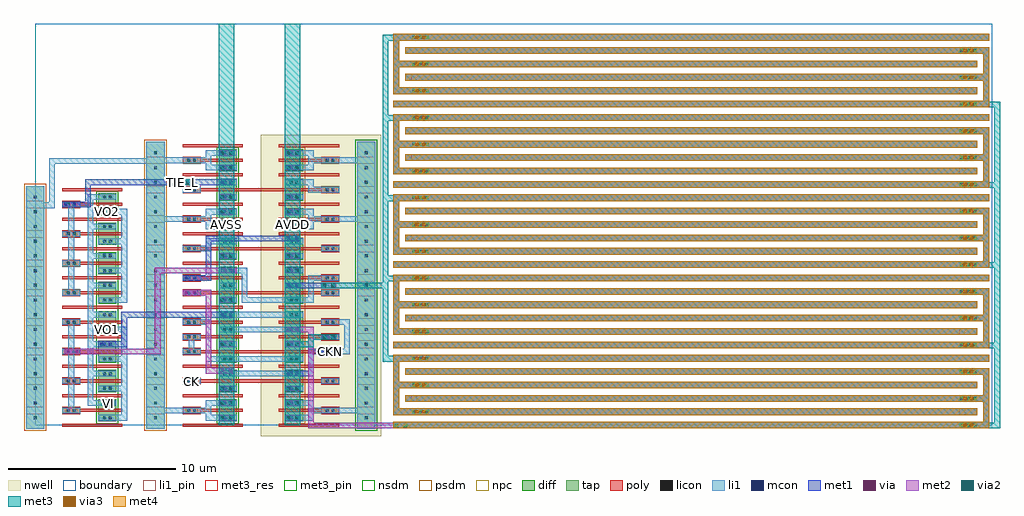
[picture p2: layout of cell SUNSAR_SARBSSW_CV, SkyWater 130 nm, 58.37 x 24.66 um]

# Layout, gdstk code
import gdstk
lib = gdstk.Library(unit=1e-6, precision=1e-09)
def R(c, l, rs):  # rectangles x0, y0, x1, y1
    for r in rs: c.add(gdstk.rectangle(r[:2], r[2:], *l))
def A(c, l, x, y, w, h, nx, ny, dx, dy):  # array of equal rectangles
    R(c, l, [(x+i*dx, y+j*dy, x+i*dx+w, y+j*dy+h) for i in range(nx) for j in range(ny)])
nwell = (64, 20)
diff = (65, 20)
tap = (65, 44)
poly = (66, 20)
licon = (66, 44)
li1_pin = (67, 16)
li1 = (67, 20)
mcon = (67, 44)
met1 = (68, 20)
via = (68, 44)
met2 = (69, 20)
via2 = (69, 44)
met3_res = (70, 13)
met3_pin = (70, 16)
met3 = (70, 20)
via3 = (70, 44)
met4 = (71, 20)
nsdm = (93, 44)
psdm = (94, 20)
npc = (95, 20)
boundary = (235, 4)

sunsar_cut_m2m4_2x1 = lib.new_cell('SUNSAR_cut_M2M4_2x1')
R(sunsar_cut_m2m4_2x1, met1, [(0,0,0.92,0.34)])
R(sunsar_cut_m2m4_2x1, via, [(0.125,0.095,0.275,0.245), (0.645,0.095,0.795,0.245)])
R(sunsar_cut_m2m4_2x1, met2, [(0,0,0.92,0.34)])
R(sunsar_cut_m2m4_2x1, via2, [(0.1,0.07,0.3,0.27), (0.62,0.07,0.82,0.27)])
R(sunsar_cut_m2m4_2x1, met3, [(0,0,0.92,0.34)])
R(sunsar_cut_m2m4_2x1, boundary, [(0,0,0.92,0.34)])

sunsar_cut_m1m4_2x1 = lib.new_cell('SUNSAR_cut_M1M4_2x1')
R(sunsar_cut_m1m4_2x1, li1, [(0,0,0.92,0.34)])
R(sunsar_cut_m1m4_2x1, mcon, [(0.115,0.085,0.285,0.255), (0.635,0.085,0.805,0.255)])
R(sunsar_cut_m1m4_2x1, met1, [(0,0,0.92,0.34)])
R(sunsar_cut_m1m4_2x1, via, [(0.125,0.095,0.275,0.245), (0.645,0.095,0.795,0.245)])
R(sunsar_cut_m1m4_2x1, met2, [(0,0,0.92,0.34)])
R(sunsar_cut_m1m4_2x1, via2, [(0.1,0.07,0.3,0.27), (0.62,0.07,0.82,0.27)])
R(sunsar_cut_m1m4_2x1, met3, [(0,0,0.92,0.34)])
R(sunsar_cut_m1m4_2x1, boundary, [(0,0,0.92,0.34)])

sunsar_cut_m3m4_2x1 = lib.new_cell('SUNSAR_cut_M3M4_2x1')
R(sunsar_cut_m3m4_2x1, met2, [(0,0,0.92,0.34)])
R(sunsar_cut_m3m4_2x1, via2, [(0.1,0.07,0.3,0.27), (0.62,0.07,0.82,0.27)])
R(sunsar_cut_m3m4_2x1, met3, [(0,0,0.92,0.34)])
R(sunsar_cut_m3m4_2x1, boundary, [(0,0,0.92,0.34)])

sunsar_cut_m1m3_2x1 = lib.new_cell('SUNSAR_cut_M1M3_2x1')
R(sunsar_cut_m1m3_2x1, li1, [(0,0,0.92,0.34)])
R(sunsar_cut_m1m3_2x1, mcon, [(0.115,0.085,0.285,0.255), (0.635,0.085,0.805,0.255)])
R(sunsar_cut_m1m3_2x1, met1, [(0,0,0.92,0.34)])
R(sunsar_cut_m1m3_2x1, via, [(0.125,0.095,0.275,0.245), (0.645,0.095,0.795,0.245)])
R(sunsar_cut_m1m3_2x1, met2, [(0,0,0.92,0.34)])
R(sunsar_cut_m1m3_2x1, boundary, [(0,0,0.92,0.34)])

sunsar_cut_m1m2_2x1 = lib.new_cell('SUNSAR_cut_M1M2_2x1')
R(sunsar_cut_m1m2_2x1, li1, [(0,0,0.92,0.34)])
R(sunsar_cut_m1m2_2x1, mcon, [(0.115,0.085,0.285,0.255), (0.635,0.085,0.805,0.255)])
R(sunsar_cut_m1m2_2x1, met1, [(0,0,0.92,0.34)])
R(sunsar_cut_m1m2_2x1, boundary, [(0,0,0.92,0.34)])

sunsar_cap_bssw_cv = lib.new_cell('SUNSAR_CAP_BSSW_CV')
R(sunsar_cap_bssw_cv, li1, [(0.54,-0.2,36.18,0.2), (35.82,0.2,36.18,1.4), (0.54,0.6,35.46,1), (0.54,1,0.9,2.2), (1.26,1.4,36.18,1.8), (35.82,1.8,36.18,3), (0.54,2.2,35.46,2.6), (0.54,2.6,0.9,3.8), (1.26,3,36.18,3.4), (0.54,3.8,36.18,4.2)])
A(sunsar_cap_bssw_cv, mcon, 34.475, -0.085, 0.17, 0.17, 3, 3, 0.36, 1.6)
A(sunsar_cap_bssw_cv, mcon, 1.715, 0.715, 0.17, 0.17, 3, 3, 0.36, 1.6)
R(sunsar_cap_bssw_cv, met1, [(0.54,-0.2,36.18,0.2), (35.82,0.2,36.18,1.4), (0.54,0.6,35.46,1), (0.54,1,0.9,2.2), (1.26,1.4,36.18,1.8), (35.82,1.8,36.18,3), (0.54,2.2,35.46,2.6), (0.54,2.6,0.9,3.8), (1.26,3,36.18,3.4), (0.54,3.8,36.18,4.2)])
A(sunsar_cap_bssw_cv, via, 34.525, -0.075, 0.15, 0.15, 3, 3, 0.32, 1.6)
A(sunsar_cap_bssw_cv, via, 1.765, 0.725, 0.15, 0.15, 3, 3, 0.32, 1.6)
R(sunsar_cap_bssw_cv, met2, [(0.54,-0.2,36.18,0.2), (35.82,0.2,36.18,1.4), (0.54,0.6,35.46,1), (0.54,1,0.9,2.2), (1.26,1.4,36.18,1.8), (35.82,1.8,36.18,3), (0.54,2.2,35.46,2.6), (0.54,2.6,0.9,3.8), (1.26,3,36.18,3.4), (0.54,3.8,36.18,4.2)])
A(sunsar_cap_bssw_cv, via2, 34.42, -0.1, 0.2, 0.2, 3, 3, 0.4, 1.6)
A(sunsar_cap_bssw_cv, via2, 1.66, 0.7, 0.2, 0.2, 3, 3, 0.4, 1.6)
R(sunsar_cap_bssw_cv, met3_res, [(34.38,0.6,34.74,1), (1.62,1.4,1.98,1.8)])
R(sunsar_cap_bssw_cv, met3_pin, [(0.54,-0.2,36.18,0.2), (0.54,3.8,36.18,4.2)])
R(sunsar_cap_bssw_cv, met3, [(0.54,-0.2,36.18,0.2), (35.82,0.2,36.18,1.4), (0.54,0.6,35.46,1), (0.54,1,0.9,2.2), (1.26,1.4,36.18,1.8), (35.82,1.8,36.18,3), (0.54,2.2,35.46,2.6), (0.54,2.6,0.9,3.8), (1.26,3,36.18,3.4), (0.54,3.8,36.18,4.2)])
A(sunsar_cap_bssw_cv, via3, 34.62, -0.1, 0.2, 0.2, 1, 3, 0, 1.6)
A(sunsar_cap_bssw_cv, via3, 35.02, -0.1, 0.2, 0.2, 1, 3, 0, 1.6)
A(sunsar_cap_bssw_cv, via3, 1.86, 0.7, 0.2, 0.2, 1, 3, 0, 1.6)
A(sunsar_cap_bssw_cv, via3, 2.26, 0.7, 0.2, 0.2, 1, 3, 0, 1.6)
R(sunsar_cap_bssw_cv, met4, [(0.54,-0.2,36.18,0.2), (35.82,0.2,36.18,1.4), (0.54,0.6,35.46,1), (0.54,1,0.9,2.2), (1.26,1.4,36.18,1.8), (35.82,1.8,36.18,3), (0.54,2.2,35.46,2.6), (0.54,2.6,0.9,3.8), (1.26,3,36.18,3.4), (0.54,3.8,36.18,4.2)])
R(sunsar_cap_bssw_cv, boundary, [(0,0,36.36,4.8)])
sunsar_cap_bssw_cv.add(gdstk.Label('A', (18.36,4), layer=70, texttype=5))
sunsar_cap_bssw_cv.add(gdstk.Label('B', (18.36,0), layer=70, texttype=5))

sunsar_cap_bssw5_cv = lib.new_cell('SUNSAR_CAP_BSSW5_CV')
R(sunsar_cap_bssw5_cv, met3_pin, [(0.54,-0.2,36.18,0.2), (0.54,13.4,36.18,13.8)])
A(sunsar_cap_bssw5_cv, met3, 36.48, 0.14, 0.34, 4.46, 1, 4, 0, 4.8)
A(sunsar_cap_bssw5_cv, met3, -0.1, 4.14, 0.34, 4.46, 1, 4, 0, 4.8)
A(sunsar_cap_bssw5_cv, met3, 18.36, 4.6, 18.46, 0.34, 1, 4, 0, 4.8)
R(sunsar_cap_bssw5_cv, met3, [(0.54,-0.2,36.82,0.14), (0.54,0.14,36.18,0.2), (-0.1,3.8,18.36,4.14), (-0.1,8.6,18.36,8.94), (-0.1,13.4,36.18,13.74), (0.54,13.74,36.18,13.8), (-0.1,18.2,18.36,18.54), (-0.1,23,18.36,23.34)])
R(sunsar_cap_bssw5_cv, boundary, [(0,0,36.36,24)])
sunsar_cap_bssw5_cv.add(gdstk.Reference(sunsar_cap_bssw_cv, (0,19.2)))
sunsar_cap_bssw5_cv.add(gdstk.Reference(sunsar_cap_bssw_cv, (0,14.4)))
sunsar_cap_bssw5_cv.add(gdstk.Reference(sunsar_cap_bssw_cv, (0,9.6)))
sunsar_cap_bssw5_cv.add(gdstk.Reference(sunsar_cap_bssw_cv, (0,4.8)))
sunsar_cap_bssw5_cv.add(gdstk.Reference(sunsar_cap_bssw_cv, (0,0)))
sunsar_cap_bssw5_cv.add(gdstk.Label('A', (18.36,13.6), layer=70, texttype=5))
sunsar_cap_bssw5_cv.add(gdstk.Label('B', (18.36,0), layer=70, texttype=5))

sunsar_pchdl = lib.new_cell('SUNSAR_PCHDL')
R(sunsar_pchdl, nwell, [(0,-0.66,7.2,2.42)])
R(sunsar_pchdl, diff, [(1.44,0.22,2.52,1.54)])
R(sunsar_pchdl, tap, [(5.76,-0.22,6.84,1.98)])
A(sunsar_pchdl, poly, 1.08, -0.09, 3.6, 0.18, 1, 3, 0, 0.88)
R(sunsar_pchdl, poly, [(3.6,0.66,4.68,0.79), (3.6,0.97,4.68,1.1)])
R(sunsar_pchdl, licon, [(1.725,0.355,1.895,0.525), (2.065,0.355,2.235,0.525), (6.215,0.355,6.385,0.525), (3.885,0.795,4.055,0.965), (4.225,0.795,4.395,0.965), (1.725,1.235,1.895,1.405), (2.065,1.235,2.235,1.405), (6.215,1.235,6.385,1.405)])
R(sunsar_pchdl, li1_pin, [(1.44,0.27,2.52,0.61), (5.76,0.66,6.84,1.1), (3.6,0.71,4.68,1.05), (1.44,1.15,2.52,1.49)])
R(sunsar_pchdl, li1, [(5.76,-0.22,6.84,1.98), (1.44,0.27,2.52,0.61), (3.6,0.71,4.68,1.05), (1.44,1.15,2.52,1.49)])
R(sunsar_pchdl, nsdm, [(5.635,-0.345,6.965,2.105)])
R(sunsar_pchdl, psdm, [(1.315,0.095,2.645,1.665)])
R(sunsar_pchdl, npc, [(3.785,0.695,4.495,1.065)])
R(sunsar_pchdl, boundary, [(0,0,6.3,1.76)])
sunsar_pchdl.add(gdstk.Label('D', (1.98,1.32), layer=67, texttype=5))
sunsar_pchdl.add(gdstk.Label('G', (4.14,0.88), layer=67, texttype=5))
sunsar_pchdl.add(gdstk.Label('S', (1.98,0.44), layer=67, texttype=5))
sunsar_pchdl.add(gdstk.Label('B', (6.3,0.88), layer=67, texttype=5))

sunsar_nchdl = lib.new_cell('SUNSAR_NCHDL')
R(sunsar_nchdl, diff, [(3.78,0.22,4.86,1.54)])
R(sunsar_nchdl, tap, [(-0.54,-0.22,0.54,1.98)])
A(sunsar_nchdl, poly, 1.62, -0.09, 3.6, 0.18, 1, 3, 0, 0.88)
R(sunsar_nchdl, poly, [(1.62,0.66,2.7,0.79), (1.62,0.97,2.7,1.1)])
R(sunsar_nchdl, licon, [(-0.085,0.355,0.085,0.525), (4.065,0.355,4.235,0.525), (4.405,0.355,4.575,0.525), (1.905,0.795,2.075,0.965), (2.245,0.795,2.415,0.965), (-0.085,1.235,0.085,1.405), (4.065,1.235,4.235,1.405), (4.405,1.235,4.575,1.405)])
R(sunsar_nchdl, li1_pin, [(3.78,0.27,4.86,0.61), (-0.54,0.66,0.54,1.1), (1.62,0.71,2.7,1.05), (3.78,1.15,4.86,1.49)])
R(sunsar_nchdl, li1, [(-0.54,-0.22,0.54,1.98), (3.78,0.27,4.86,0.61), (1.62,0.71,2.7,1.05), (3.78,1.15,4.86,1.49)])
R(sunsar_nchdl, nsdm, [(3.655,0.095,4.985,1.665)])
R(sunsar_nchdl, psdm, [(-0.665,-0.345,0.665,2.105)])
R(sunsar_nchdl, npc, [(1.805,0.695,2.515,1.065)])
R(sunsar_nchdl, boundary, [(0,0,6.3,1.76)])
sunsar_nchdl.add(gdstk.Label('D', (4.32,1.32), layer=67, texttype=5))
sunsar_nchdl.add(gdstk.Label('G', (2.16,0.88), layer=67, texttype=5))
sunsar_nchdl.add(gdstk.Label('S', (4.32,0.44), layer=67, texttype=5))
sunsar_nchdl.add(gdstk.Label('B', (0,0.88), layer=67, texttype=5))

sunsar_tapcellb_cv = lib.new_cell('SUNSAR_TAPCELLB_CV')
R(sunsar_tapcellb_cv, li1, [(3,0.27,4.32,0.61), (8.28,0.27,9.46,0.61), (3,0.61,3.34,0.71), (9.12,0.61,9.46,0.71), (-0.54,0.71,3.34,1.05), (9.12,0.71,13.14,1.05), (3,1.05,3.34,1.15), (9.12,1.05,9.46,1.15), (3,1.15,4.32,1.49), (8.28,1.15,9.46,1.49)])
R(sunsar_tapcellb_cv, met3_pin, [(3.78,0,4.7,1.76), (7.74,0,8.66,1.76)])
R(sunsar_tapcellb_cv, met3, [(3.78,0,4.7,1.76), (7.74,0,8.66,1.76)])
R(sunsar_tapcellb_cv, boundary, [(0,0,12.6,1.76)])
sunsar_tapcellb_cv.add(gdstk.Reference(sunsar_cut_m1m4_2x1, (3.78,0.27)))
sunsar_tapcellb_cv.add(gdstk.Reference(sunsar_cut_m1m4_2x1, (3.78,1.15)))
sunsar_tapcellb_cv.add(gdstk.Reference(sunsar_cut_m1m4_2x1, (7.74,0.27)))
sunsar_tapcellb_cv.add(gdstk.Reference(sunsar_cut_m1m4_2x1, (7.74,1.15)))
sunsar_tapcellb_cv.add(gdstk.Reference(sunsar_pchdl, (6.3,0)))
sunsar_tapcellb_cv.add(gdstk.Reference(sunsar_nchdl, (0,0)))
sunsar_tapcellb_cv.add(gdstk.Label('AVDD', (8.2,0.88), layer=70, texttype=5))
sunsar_tapcellb_cv.add(gdstk.Label('AVSS', (4.24,0.88), layer=70, texttype=5))

sunsar_sarbsswctrl_cv = lib.new_cell('SUNSAR_SARBSSWCTRL_CV')
R(sunsar_sarbsswctrl_cv, poly, [(1.62,0.79,10.98,0.97)])
R(sunsar_sarbsswctrl_cv, li1_pin, [(-0.54,0.66,0.54,1.1), (12.06,0.66,13.14,1.1), (9.9,0.71,10.98,1.05), (7.74,1.15,8.82,1.49), (1.62,1.59,2.7,1.93), (3.78,2.03,4.86,2.37)])
R(sunsar_sarbsswctrl_cv, li1, [(5.16,0.27,9.46,0.61), (5.16,0.61,5.5,2.03), (9.12,0.61,9.46,1.59), (-0.54,0.66,0.54,1.1), (12.06,0.66,13.14,1.1), (9.9,0.71,10.98,1.05), (4.15,1.15,4.49,1.49), (7.74,1.15,8.82,1.49), (1.62,1.59,2.7,1.93), (9.12,1.59,10.44,1.93), (3.78,2.03,5.5,2.37)])
R(sunsar_sarbsswctrl_cv, met3_pin, [(3.78,0,4.7,2.64), (7.74,0,8.66,2.64)])
R(sunsar_sarbsswctrl_cv, met3, [(3.78,0,4.7,2.64), (7.74,0,8.66,2.64)])
R(sunsar_sarbsswctrl_cv, boundary, [(0,0,12.6,2.64)])
sunsar_sarbsswctrl_cv.add(gdstk.Reference(sunsar_cut_m1m4_2x1, (3.78,0.27)))
sunsar_sarbsswctrl_cv.add(gdstk.Reference(sunsar_cut_m1m4_2x1, (7.74,2.03)))
sunsar_sarbsswctrl_cv.add(gdstk.Reference(sunsar_pchdl, (6.3,0.88)))
sunsar_sarbsswctrl_cv.add(gdstk.Reference(sunsar_pchdl, (6.3,0)))
sunsar_sarbsswctrl_cv.add(gdstk.Reference(sunsar_nchdl, (0,0.88)))
sunsar_sarbsswctrl_cv.add(gdstk.Reference(sunsar_nchdl, (0,0)))
sunsar_sarbsswctrl_cv.add(gdstk.Label('C', (10.44,0.88), layer=67, texttype=5))
sunsar_sarbsswctrl_cv.add(gdstk.Label('GN', (4.32,2.2), layer=67, texttype=5))
sunsar_sarbsswctrl_cv.add(gdstk.Label('GNG', (8.28,1.32), layer=67, texttype=5))
sunsar_sarbsswctrl_cv.add(gdstk.Label('TIE_H', (2.16,1.76), layer=67, texttype=5))
sunsar_sarbsswctrl_cv.add(gdstk.Label('BULKP', (12.6,0.88), layer=67, texttype=5))
sunsar_sarbsswctrl_cv.add(gdstk.Label('BULKN', (0,0.88), layer=67, texttype=5))
sunsar_sarbsswctrl_cv.add(gdstk.Label('AVDD', (8.2,1.32), layer=70, texttype=5))
sunsar_sarbsswctrl_cv.add(gdstk.Label('AVSS', (4.24,1.32), layer=70, texttype=5))

sunsar_tgpd_cv = lib.new_cell('SUNSAR_TGPD_CV')
R(sunsar_tgpd_cv, poly, [(1.62,0.79,10.98,0.97)])
R(sunsar_tgpd_cv, li1_pin, [(9.9,0.71,10.98,1.05), (7.74,2.03,8.82,2.37), (3.78,2.91,4.86,3.25)])
R(sunsar_tgpd_cv, li1, [(3,0.27,8.28,0.61), (3,0.61,3.34,2.47), (1.99,0.71,2.33,1.93), (9.9,0.71,11.62,1.05), (11.28,1.05,11.62,2.47), (4.15,1.15,4.49,1.49), (8.11,1.15,8.45,1.49), (4.15,2.03,8.82,2.37), (2.16,2.47,3.34,2.81), (10.44,2.47,11.62,2.81), (3.78,2.91,8.28,3.25)])
R(sunsar_tgpd_cv, met3_pin, [(3.78,0,4.7,3.52), (7.74,0,8.66,3.52)])
R(sunsar_tgpd_cv, met3, [(3.78,0,4.7,3.52), (7.74,0,8.66,1.15), (7.74,1.15,9.46,1.49), (7.74,1.49,8.66,3.52), (9.12,1.49,9.46,1.59), (9.12,1.59,10.44,1.93)])
R(sunsar_tgpd_cv, boundary, [(0,0,12.6,3.52)])
sunsar_tgpd_cv.add(gdstk.Reference(sunsar_cut_m1m4_2x1, (3.78,1.15)))
sunsar_tgpd_cv.add(gdstk.Reference(sunsar_cut_m1m4_2x1, (3.78,1.15)))
sunsar_tgpd_cv.add(gdstk.Reference(sunsar_cut_m1m4_2x1, (7.74,1.15)))
sunsar_tgpd_cv.add(gdstk.Reference(sunsar_cut_m1m4_2x1, (9.9,1.59)))
sunsar_tgpd_cv.add(gdstk.Reference(sunsar_cut_m1m4_2x1, (7.74,1.15)))
sunsar_tgpd_cv.add(gdstk.Reference(sunsar_pchdl, (6.3,1.76)))
sunsar_tgpd_cv.add(gdstk.Reference(sunsar_pchdl, (6.3,0.88)))
sunsar_tgpd_cv.add(gdstk.Reference(sunsar_pchdl, (6.3,0)))
sunsar_tgpd_cv.add(gdstk.Reference(sunsar_nchdl, (0,1.76)))
sunsar_tgpd_cv.add(gdstk.Reference(sunsar_nchdl, (0,0.88)))
sunsar_tgpd_cv.add(gdstk.Reference(sunsar_nchdl, (0,0)))
sunsar_tgpd_cv.add(gdstk.Label('C', (10.44,0.88), layer=67, texttype=5))
sunsar_tgpd_cv.add(gdstk.Label('A', (4.32,3.08), layer=67, texttype=5))
sunsar_tgpd_cv.add(gdstk.Label('B', (8.28,2.2), layer=67, texttype=5))
sunsar_tgpd_cv.add(gdstk.Label('AVDD', (8.2,1.76), layer=70, texttype=5))
sunsar_tgpd_cv.add(gdstk.Label('AVSS', (4.24,1.76), layer=70, texttype=5))

sunsar_tiel_cv = lib.new_cell('SUNSAR_TIEL_CV')
R(sunsar_tiel_cv, poly, [(1.62,0.79,10.98,0.97)])
R(sunsar_tiel_cv, li1_pin, [(-0.54,0.66,0.54,1.1), (12.06,0.66,13.14,1.1), (3.78,1.15,4.86,1.49)])
R(sunsar_tiel_cv, li1, [(-0.54,0.66,0.54,1.1), (12.06,0.66,13.14,1.1), (9.12,0.71,10.44,1.05), (9.12,1.05,9.46,1.15), (3.78,1.15,4.86,1.49), (8.28,1.15,9.46,1.49)])
R(sunsar_tiel_cv, met3_pin, [(3.78,0,4.7,1.76), (7.74,0,8.66,1.76)])
R(sunsar_tiel_cv, met3, [(3.78,0,4.7,1.76), (7.74,0,8.66,1.76)])
R(sunsar_tiel_cv, boundary, [(0,0,12.6,1.76)])
sunsar_tiel_cv.add(gdstk.Reference(sunsar_cut_m1m4_2x1, (3.78,0.27)))
sunsar_tiel_cv.add(gdstk.Reference(sunsar_cut_m1m4_2x1, (7.74,0.27)))
sunsar_tiel_cv.add(gdstk.Reference(sunsar_pchdl, (6.3,0)))
sunsar_tiel_cv.add(gdstk.Reference(sunsar_nchdl, (0,0)))
sunsar_tiel_cv.add(gdstk.Label('Y', (4.32,1.32), layer=67, texttype=5))
sunsar_tiel_cv.add(gdstk.Label('BULKP', (12.6,0.88), layer=67, texttype=5))
sunsar_tiel_cv.add(gdstk.Label('BULKN', (0,0.88), layer=67, texttype=5))
sunsar_tiel_cv.add(gdstk.Label('AVDD', (8.2,0.88), layer=70, texttype=5))
sunsar_tiel_cv.add(gdstk.Label('AVSS', (4.24,0.88), layer=70, texttype=5))

sunsar_tieh_cv = lib.new_cell('SUNSAR_TIEH_CV')
R(sunsar_tieh_cv, poly, [(1.62,0.79,10.98,0.97)])
R(sunsar_tieh_cv, li1_pin, [(-0.54,0.66,0.54,1.1), (12.06,0.66,13.14,1.1), (7.74,1.15,8.82,1.49)])
R(sunsar_tieh_cv, li1, [(-0.54,0.66,0.54,1.1), (12.06,0.66,13.14,1.1), (2.16,0.71,3.34,1.05), (3,1.05,3.34,1.15), (3,1.15,4.32,1.49), (7.74,1.15,8.82,1.49)])
R(sunsar_tieh_cv, met3_pin, [(3.78,0,4.7,1.76), (7.74,0,8.66,1.76)])
R(sunsar_tieh_cv, met3, [(3.78,0,4.7,1.76), (7.74,0,8.66,1.76)])
R(sunsar_tieh_cv, boundary, [(0,0,12.6,1.76)])
sunsar_tieh_cv.add(gdstk.Reference(sunsar_cut_m1m4_2x1, (3.78,0.27)))
sunsar_tieh_cv.add(gdstk.Reference(sunsar_cut_m1m4_2x1, (7.74,0.27)))
sunsar_tieh_cv.add(gdstk.Reference(sunsar_pchdl, (6.3,0)))
sunsar_tieh_cv.add(gdstk.Reference(sunsar_nchdl, (0,0)))
sunsar_tieh_cv.add(gdstk.Label('Y', (8.28,1.32), layer=67, texttype=5))
sunsar_tieh_cv.add(gdstk.Label('BULKP', (12.6,0.88), layer=67, texttype=5))
sunsar_tieh_cv.add(gdstk.Label('BULKN', (0,0.88), layer=67, texttype=5))
sunsar_tieh_cv.add(gdstk.Label('AVDD', (8.2,0.88), layer=70, texttype=5))
sunsar_tieh_cv.add(gdstk.Label('AVSS', (4.24,0.88), layer=70, texttype=5))

sunsar_ivx1_cv = lib.new_cell('SUNSAR_IVX1_CV')
R(sunsar_ivx1_cv, poly, [(1.62,0.79,10.98,0.97)])
R(sunsar_ivx1_cv, li1_pin, [(-0.54,0.66,0.54,1.1), (12.06,0.66,13.14,1.1), (1.62,0.71,2.7,1.05), (3.78,1.15,4.86,1.49)])
R(sunsar_ivx1_cv, li1, [(-0.54,0.66,0.54,1.1), (12.06,0.66,13.14,1.1), (1.62,0.71,2.7,1.05), (3.78,1.15,8.28,1.49)])
R(sunsar_ivx1_cv, met3_pin, [(3.78,0,4.7,1.76), (7.74,0,8.66,1.76)])
R(sunsar_ivx1_cv, met3, [(3.78,0,4.7,1.76), (7.74,0,8.66,1.76)])
R(sunsar_ivx1_cv, boundary, [(0,0,12.6,1.76)])
sunsar_ivx1_cv.add(gdstk.Reference(sunsar_cut_m1m4_2x1, (3.78,0.27)))
sunsar_ivx1_cv.add(gdstk.Reference(sunsar_cut_m1m4_2x1, (7.74,0.27)))
sunsar_ivx1_cv.add(gdstk.Reference(sunsar_pchdl, (6.3,0)))
sunsar_ivx1_cv.add(gdstk.Reference(sunsar_nchdl, (0,0)))
sunsar_ivx1_cv.add(gdstk.Label('A', (2.16,0.88), layer=67, texttype=5))
sunsar_ivx1_cv.add(gdstk.Label('Y', (4.32,1.32), layer=67, texttype=5))
sunsar_ivx1_cv.add(gdstk.Label('BULKP', (12.6,0.88), layer=67, texttype=5))
sunsar_ivx1_cv.add(gdstk.Label('BULKN', (0,0.88), layer=67, texttype=5))
sunsar_ivx1_cv.add(gdstk.Label('AVDD', (8.2,0.88), layer=70, texttype=5))
sunsar_ivx1_cv.add(gdstk.Label('AVSS', (4.24,0.88), layer=70, texttype=5))

sunsar_nchdlr = lib.new_cell('SUNSAR_NCHDLR')
R(sunsar_nchdlr, diff, [(3.78,0.22,4.86,1.54)])
R(sunsar_nchdlr, tap, [(-0.54,-0.22,0.54,1.98)])
A(sunsar_nchdlr, poly, 1.62, -0.09, 3.6, 0.18, 1, 3, 0, 0.88)
R(sunsar_nchdlr, poly, [(1.62,0.66,2.7,0.79), (1.62,0.97,2.7,1.1)])
R(sunsar_nchdlr, licon, [(-0.085,0.355,0.085,0.525), (4.065,0.355,4.235,0.525), (4.405,0.355,4.575,0.525), (1.905,0.795,2.075,0.965), (2.245,0.795,2.415,0.965), (-0.085,1.235,0.085,1.405), (4.065,1.235,4.235,1.405), (4.405,1.235,4.575,1.405)])
R(sunsar_nchdlr, li1_pin, [(3.78,0.27,4.86,0.61), (-0.54,0.66,0.54,1.1), (1.62,0.71,2.7,1.05), (3.78,1.15,4.86,1.49)])
R(sunsar_nchdlr, li1, [(-0.54,-0.22,0.54,1.98), (3.78,0.27,4.86,0.61), (1.62,0.71,2.7,1.05), (3.78,1.15,4.86,1.49)])
R(sunsar_nchdlr, nsdm, [(3.655,0.095,4.985,1.665)])
R(sunsar_nchdlr, psdm, [(-0.665,-0.345,0.665,2.105)])
R(sunsar_nchdlr, npc, [(1.805,0.695,2.515,1.065)])
R(sunsar_nchdlr, boundary, [(0,0,7.2,1.76)])
sunsar_nchdlr.add(gdstk.Label('D', (4.32,1.32), layer=67, texttype=5))
sunsar_nchdlr.add(gdstk.Label('G', (2.16,0.88), layer=67, texttype=5))
sunsar_nchdlr.add(gdstk.Label('S', (4.32,0.44), layer=67, texttype=5))
sunsar_nchdlr.add(gdstk.Label('B', (0,0.88), layer=67, texttype=5))

sunsar_sarbssw_cv = lib.new_cell('SUNSAR_SARBSSW_CV')
R(sunsar_sarbssw_cv, li1_pin, [(8.82,2.47,9.9,2.81), (17.1,4.23,18.18,4.57), (3.78,5.55,4.86,5.89), (3.78,12.59,4.86,12.93)])
A(sunsar_sarbssw_cv, li1, 4.32, 0.27, 1.18, 0.34, 1, 3, 0, 1.76)
A(sunsar_sarbssw_cv, li1, 5.16, 0.61, 0.34, 1.42, 1, 3, 0, 1.76)
A(sunsar_sarbssw_cv, li1, 3.14, 1.15, 1.18, 0.34, 1, 8, 0, 1.76)
A(sunsar_sarbssw_cv, li1, 3.14, 1.49, 0.34, 1.42, 1, 7, 0, 1.76)
A(sunsar_sarbssw_cv, li1, 4.32, 7.31, 1.18, 0.34, 1, 3, 0, 1.76)
A(sunsar_sarbssw_cv, li1, 5.16, 7.65, 0.34, 1.42, 1, 3, 0, 1.76)
R(sunsar_sarbssw_cv, li1, [(1.99,0.71,2.33,6.33), (8.82,2.47,9.9,2.81), (17.1,4.23,18.18,4.57), (3.78,5.55,5.5,5.89), (1.99,7.75,2.33,13.37), (3.78,12.59,5.5,12.93), (0,12.98,1.18,13.32), (0.84,13.32,1.18,15.62), (0.84,15.62,7.2,15.96)])
R(sunsar_sarbssw_cv, met1, [(15.48,2.91,16.66,3.25), (16.32,3.25,16.66,4.23), (16.32,4.23,17.64,4.57), (4.32,4.67,5.5,5.01), (5.16,5.01,5.5,6.43), (5.16,6.43,11.52,6.77), (14.94,8.19,17.1,8.53), (9.36,8.63,10.54,8.97), (10.2,8.97,10.54,11), (10.2,11,15.48,11.34), (2.16,13.03,3.34,13.37), (3,13.37,3.34,14.35), (3,14.35,11.52,14.69)])
R(sunsar_sarbssw_cv, met2, [(16.32,-0.2,21.88,0.14), (16.32,0.14,16.66,5.55), (10.2,3.08,11.52,3.42), (10.2,3.42,10.54,7.75), (2.16,4.23,7.5,4.57), (7.16,4.57,7.5,9.07), (15.48,5.55,16.66,5.89), (9.36,7.75,10.54,8.09), (7.16,9.07,11.52,9.41)])
R(sunsar_sarbssw_cv, met3_pin, [(10.98,0,11.9,24), (14.94,0,15.86,24), (3.94,1.15,4.86,1.49), (8.38,14.35,9.3,14.69)])
R(sunsar_sarbssw_cv, met3, [(10.98,0,11.9,24), (14.94,0,15.86,24), (3.94,1.15,4.86,1.49), (17.56,8.19,21.12,8.53), (20.78,8.53,21.12,13.4), (20.78,13.4,39.24,13.74), (8.38,14.35,9.3,14.69)])
A(sunsar_sarbssw_cv, nsdm, 3.655, 1.665, 1.33, 0.19, 1, 7, 0, 1.76)
A(sunsar_sarbssw_cv, nsdm, 10.855, 9.585, 1.33, 0.19, 1, 4, 0, 1.76)
R(sunsar_sarbssw_cv, nsdm, [(10.855,1.665,12.185,1.855), (10.855,3.425,12.185,3.615), (10.855,6.945,12.185,7.135)])
A(sunsar_sarbssw_cv, psdm, 14.815, 9.585, 1.33, 0.19, 1, 4, 0, 1.76)
R(sunsar_sarbssw_cv, psdm, [(14.815,1.665,16.145,1.855), (14.815,3.425,16.145,3.615), (14.815,6.945,16.145,7.135)])
R(sunsar_sarbssw_cv, boundary, [(0,0,57.24,24)])
sunsar_sarbssw_cv.add(gdstk.Reference(sunsar_cut_m2m4_2x1, (8.38,14.35)))
sunsar_sarbssw_cv.add(gdstk.Reference(sunsar_cut_m1m4_2x1, (3.94,1.15)))
sunsar_sarbssw_cv.add(gdstk.Reference(sunsar_cut_m3m4_2x1, (21.42,-0.2)))
sunsar_sarbssw_cv.add(gdstk.Reference(sunsar_cut_m1m3_2x1, (14.94,5.55)))
sunsar_sarbssw_cv.add(gdstk.Reference(sunsar_cut_m1m3_2x1, (1.78,4.23)))
sunsar_sarbssw_cv.add(gdstk.Reference(sunsar_cut_m1m3_2x1, (11.14,9.07)))
sunsar_sarbssw_cv.add(gdstk.Reference(sunsar_cut_m1m2_2x1, (10.98,6.43)))
sunsar_sarbssw_cv.add(gdstk.Reference(sunsar_cut_m1m2_2x1, (3.78,4.67)))
sunsar_sarbssw_cv.add(gdstk.Reference(sunsar_cut_m1m2_2x1, (14.94,11)))
sunsar_sarbssw_cv.add(gdstk.Reference(sunsar_cut_m1m2_2x1, (8.82,8.63)))
sunsar_sarbssw_cv.add(gdstk.Reference(sunsar_cut_m1m2_2x1, (10.98,14.35)))
sunsar_sarbssw_cv.add(gdstk.Reference(sunsar_cut_m1m2_2x1, (1.62,13.03)))
sunsar_sarbssw_cv.add(gdstk.Reference(sunsar_cut_m1m3_2x1, (10.98,3.08)))
sunsar_sarbssw_cv.add(gdstk.Reference(sunsar_cut_m1m3_2x1, (8.82,7.75)))
sunsar_sarbssw_cv.add(gdstk.Reference(sunsar_cut_m1m2_2x1, (17.1,4.23)))
sunsar_sarbssw_cv.add(gdstk.Reference(sunsar_cut_m1m2_2x1, (14.94,2.91)))
sunsar_sarbssw_cv.add(gdstk.Reference(sunsar_cut_m2m4_2x1, (17.1,8.19)))
sunsar_sarbssw_cv.add(gdstk.Reference(sunsar_cut_m1m2_2x1, (14.94,8.19)))
sunsar_sarbssw_cv.add(gdstk.Reference(sunsar_cap_bssw5_cv, (20.88,0)))
sunsar_sarbssw_cv.add(gdstk.Reference(sunsar_tapcellb_cv, (7.2,11.44)))
sunsar_sarbssw_cv.add(gdstk.Reference(sunsar_tapcellb_cv, (7.2,0)))
sunsar_sarbssw_cv.add(gdstk.Reference(sunsar_tapcellb_cv, (7.2,14.96)))
sunsar_sarbssw_cv.add(gdstk.Reference(sunsar_sarbsswctrl_cv, (7.2,7.04)))
sunsar_sarbssw_cv.add(gdstk.Reference(sunsar_tgpd_cv, (7.2,3.52)))
sunsar_sarbssw_cv.add(gdstk.Reference(sunsar_tiel_cv, (7.2,13.2)))
sunsar_sarbssw_cv.add(gdstk.Reference(sunsar_tieh_cv, (7.2,9.68)))
sunsar_sarbssw_cv.add(gdstk.Reference(sunsar_ivx1_cv, (7.2,1.76)))
sunsar_sarbssw_cv.add(gdstk.Reference(sunsar_nchdlr, (0,12.32)))
sunsar_sarbssw_cv.add(gdstk.Reference(sunsar_nchdlr, (0,10.56)))
sunsar_sarbssw_cv.add(gdstk.Reference(sunsar_nchdlr, (0,8.8)))
sunsar_sarbssw_cv.add(gdstk.Reference(sunsar_nchdlr, (0,7.04)))
sunsar_sarbssw_cv.add(gdstk.Reference(sunsar_nchdlr, (0,5.28)))
sunsar_sarbssw_cv.add(gdstk.Reference(sunsar_nchdlr, (0,3.52)))
sunsar_sarbssw_cv.add(gdstk.Reference(sunsar_nchdlr, (0,1.76)))
sunsar_sarbssw_cv.add(gdstk.Reference(sunsar_nchdlr, (0,0)))
sunsar_sarbssw_cv.add(gdstk.Label('VI', (4.4,1.32), layer=70, texttype=5))
sunsar_sarbssw_cv.add(gdstk.Label('CK', (9.36,2.64), layer=67, texttype=5))
sunsar_sarbssw_cv.add(gdstk.Label('CKN', (17.64,4.4), layer=67, texttype=5))
sunsar_sarbssw_cv.add(gdstk.Label('TIE_L', (8.84,14.52), layer=70, texttype=5))
sunsar_sarbssw_cv.add(gdstk.Label('VO1', (4.32,5.72), layer=67, texttype=5))
sunsar_sarbssw_cv.add(gdstk.Label('VO2', (4.32,12.76), layer=67, texttype=5))
sunsar_sarbssw_cv.add(gdstk.Label('AVDD', (15.4,12), layer=70, texttype=5))
sunsar_sarbssw_cv.add(gdstk.Label('AVSS', (11.44,12), layer=70, texttype=5))

lib.write_gds('SUNSAR_SARBSSW_CV.gds')
